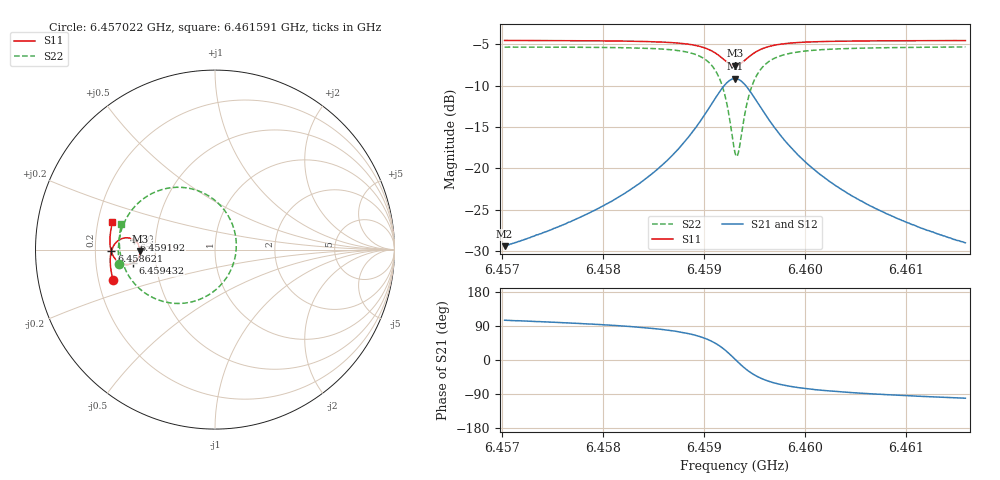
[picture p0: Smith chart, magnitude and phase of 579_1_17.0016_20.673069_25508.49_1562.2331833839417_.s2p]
#  HZ  S  RI  R  50.00
! Rohde & Schwarz Vector Network Analyzer
! Rohde-Schwarz,ZNB20-2Port,1311601062101988,3.16
! Created: UTC 3/20/2024, 11:18:02 PM
! freq[Hz]  re:S11  im:S11  re:S21  im:S21  re:S12  im:S12  re:S22  im:S22
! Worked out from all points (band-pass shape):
!   401 points, 6.457022 GHz to 6.461591 GHz, reference 50 ohm
!   highest |S21| = -9.15 dB at 6.459307 GHz (marker M1); lowest = -29.4 dB at 6.457022 GHz (marker M2)
!   |S21| within 3 dB of the highest: 6.459079 GHz to 6.459535 GHz (456.7 kHz wide, 0.00707 % of centre)
!   lowest |S11| = -7.6 dB at 6.459307 GHz (marker M3), VSWR 2.43, Z = 20.6 - j0.419 ohm
!   |S11| at or under -10 dB: nowhere
!   |S22| runs from -18.5 to -5.3 dB; largest |S21 - S12| = 0.014
!   S11 on the Smith chart (normalised r, x): 6.457022 GHz: 0.26, -0.14; 6.458621 GHz: 0.27, -0.01; 6.459192 GHz: 0.37, +0.05; 6.459432 GHz: 0.37, -0.07; 6.461591 GHz: 0.26, +0.12
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6.4570219e9  -0.5677 -0.1688  -0.00876 0.0327  -0.00698 0.0328  -0.5337 -0.0806
6.4577873e9  -0.5813 -0.1016  -0.00542 0.0508  -0.00278 0.0503  -0.5385 0.00933
6.4581985e9  -0.5838 -0.0604  0.000431 0.0697  0.00371 0.0683  -0.5302 0.0747
6.4585526e9  -0.5798 -0.018  0.0148 0.0995  0.0188 0.0967  -0.5037 0.1548
6.4586212e9  -0.5775 -0.00853  0.0203 0.1078  0.0244 0.1046  -0.4935 0.1749
6.4588154e9  -0.5647 0.0219  0.0469 0.1389  0.0513 0.1339  -0.4431 0.2442
6.4589639e9  -0.5419 0.0483  0.0926 0.1695  0.096 0.1627  -0.3585 0.3088
6.4591009e9  -0.4978 0.0657  0.1805 0.186  0.1816 0.1785  -0.1978 0.3472
6.4591923e9  -0.4528 0.0552  0.2712 0.1541  0.2714 0.1484  -0.0298 0.2959
6.4592609e9  -0.4235 0.0228  0.3321 0.0816  0.3343 0.0762  0.0864 0.1646
6.4593065e9  -0.4167 -0.00841  0.3483 0.0129  0.3522 0.00605  0.1187 0.0361
6.4593408e9  -0.4207 -0.0324  0.3425 -0.04  0.3464 -0.0492  0.1068 -0.0646
6.4593865e9  -0.4365 -0.0587  0.3134 -0.1003  0.3157 -0.1126  0.0479 -0.179
6.4594322e9  -0.4587 -0.0753  0.2707 -0.1417  0.2699 -0.1552  -0.0386 -0.2543
6.4594779e9  -0.4817 -0.0821  0.2258 -0.1643  0.2218 -0.1772  -0.1291 -0.2912
6.4595236e9  -0.5025 -0.082  0.185 -0.1727  0.1788 -0.1846  -0.2098 -0.3001
6.4596721e9  -0.5467 -0.0613  0.0964 -0.1583  0.0877 -0.1646  -0.3789 -0.2493
6.459832e9  -0.5683 -0.0335  0.0513 -0.13  0.0435 -0.1328  -0.4597 -0.176
6.4600719e9  -0.581 0.00202  0.022 -0.0981  0.0161 -0.0986  -0.5076 -0.0928
6.460426e9  -0.5855 0.0441  0.00571 -0.0702  0.00162 -0.0698  -0.5292 -0.0109
6.4608372e9  -0.5835 0.0857  -0.00161 -0.0522  -0.00446 -0.0513  -0.5329 0.0553
6.4615912e9  -0.5712 0.1524  -0.00666 -0.0348  -0.00845 -0.0339  -0.5213 0.1447
